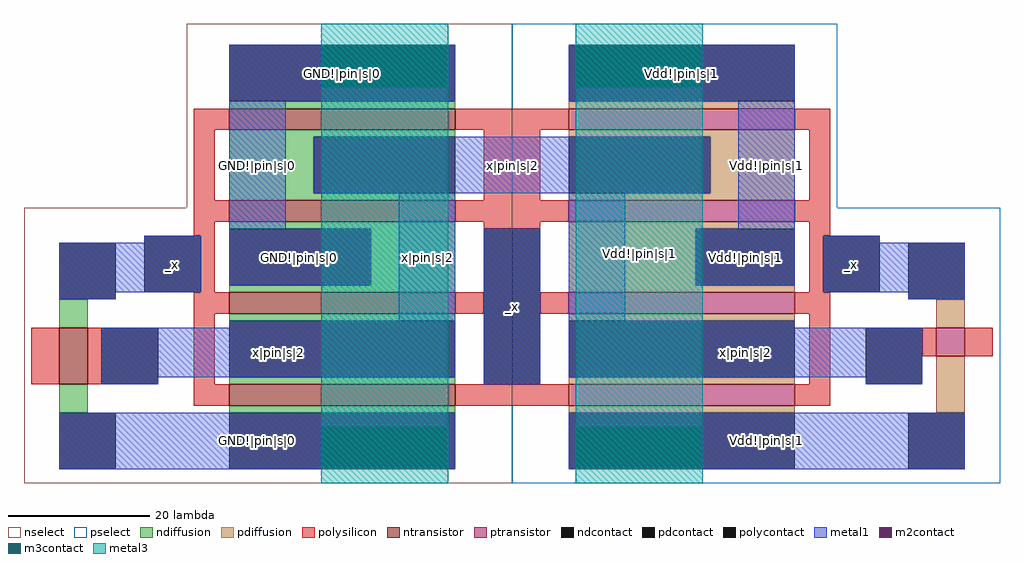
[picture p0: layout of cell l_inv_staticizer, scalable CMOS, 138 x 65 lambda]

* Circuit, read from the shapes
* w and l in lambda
.subckt l_inv_staticizer GND!|pin|s|0 Vdd!|pin|s|1 _x x|pin|s|2
M1 _x x|pin|s|2 GND!|pin|s|0 VSUBS nfet w=4 l=8
M2 x|pin|s|2 _x GND!|pin|s|0 VSUBS nfet w=32 l=3 m=4
M3 x|pin|s|2 _x Vdd!|pin|s|1 NWELL pfet w=32 l=3 m=4
M4 _x x|pin|s|2 Vdd!|pin|s|1 NWELL pfet w=4 l=4
.ends

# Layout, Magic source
magic
tech scmos
<< nselect >>
rect -46 99 0 125
rect -69 60 0 99
<< pselect >>
rect 0 99 46 125
rect 0 60 69 99
<< ndiffusion >>
rect -40 113 -8 114
rect -40 109 -8 110
rect -40 101 -28 109
rect -40 100 -8 101
rect -40 96 -8 97
rect -20 88 -8 96
rect -40 87 -8 88
rect -64 82 -60 86
rect -40 83 -8 84
rect -40 74 -8 75
rect -64 70 -60 74
rect -40 70 -8 71
<< pdiffusion >>
rect 8 113 40 114
rect 8 109 40 110
rect 28 101 40 109
rect 8 100 40 101
rect 8 96 40 97
rect 8 88 26 96
rect 8 87 40 88
rect 8 83 40 84
rect 8 74 40 75
rect 60 82 64 86
rect 8 70 40 71
rect 60 70 64 78
<< ntransistor >>
rect -40 110 -8 113
rect -40 97 -8 100
rect -40 84 -8 87
rect -64 74 -60 82
rect -40 71 -8 74
<< ptransistor >>
rect 8 110 40 113
rect 8 97 40 100
rect 8 84 40 87
rect 60 78 64 82
rect 8 71 40 74
<< polysilicon >>
rect -45 110 -40 113
rect -8 110 8 113
rect 40 110 45 113
rect -45 100 -42 110
rect -4 100 4 110
rect 42 100 45 110
rect -45 97 -40 100
rect -8 97 8 100
rect 40 97 45 100
rect -45 95 -42 97
rect -44 87 -42 95
rect -4 96 4 97
rect -45 84 -40 87
rect -8 84 -4 87
rect -68 74 -64 82
rect -60 74 -58 82
rect -45 74 -42 84
rect 42 95 45 97
rect 42 87 44 95
rect 4 84 8 87
rect 40 84 45 87
rect 42 74 45 84
rect 58 78 60 82
rect 64 78 68 82
rect -45 71 -40 74
rect -8 71 8 74
rect 40 71 45 74
<< ndcontact >>
rect -40 114 -8 122
rect -28 101 -8 109
rect -64 86 -56 94
rect -40 88 -20 96
rect -40 75 -8 83
rect -64 62 -56 70
rect -40 62 -8 70
<< pdcontact >>
rect 8 114 40 122
rect 8 101 28 109
rect 26 88 40 96
rect 56 86 64 94
rect 8 75 40 83
rect 8 62 40 70
rect 56 62 64 70
<< polycontact >>
rect -52 87 -44 95
rect -58 74 -50 82
rect -4 74 4 96
rect 44 87 52 95
rect 50 74 58 82
<< metal1 >>
rect -40 116 -27 122
rect -9 116 -8 122
rect -40 114 -8 116
rect 8 116 9 122
rect 27 116 40 122
rect 8 114 40 116
rect -40 96 -32 114
rect -28 101 28 109
rect -52 94 -44 95
rect -64 87 -44 94
rect -40 88 -20 96
rect -64 86 -56 87
rect -16 83 -8 101
rect -40 82 -8 83
rect -58 75 -8 82
rect -58 74 -50 75
rect -4 74 4 96
rect 8 83 16 101
rect 32 96 40 114
rect 26 88 40 96
rect 44 94 52 95
rect 44 87 64 94
rect 56 86 64 87
rect 8 82 40 83
rect 8 75 58 82
rect 50 74 58 75
rect -64 68 -8 70
rect -64 62 -27 68
rect -9 62 -8 68
rect 8 68 64 70
rect 8 62 9 68
rect 27 62 64 68
<< m2contact >>
rect -27 116 -9 122
rect 9 116 27 122
rect -27 62 -9 68
rect 9 62 27 68
<< m3contact >>
rect -27 116 -9 122
rect 9 116 27 122
rect -27 62 -9 68
rect 9 62 27 68
<< metal3 >>
rect -27 60 -9 125
rect 9 60 27 125
<< labels >>
rlabel metal1 -4 74 4 96 1 _x
rlabel metal1 -48 91 -48 91 1 _x
rlabel metal1 48 91 48 91 1 _x
rlabel space -69 60 -28 125 7 ^n
rlabel space 28 60 69 125 3 ^p
rlabel metal1 -64 62 -8 70 1 GND!|pin|s|0
rlabel metal1 -40 88 -32 122 1 GND!|pin|s|0
rlabel metal1 -40 114 -8 122 1 GND!|pin|s|0
rlabel metal1 -40 88 -20 96 1 GND!|pin|s|0
rlabel metal1 8 62 64 70 1 Vdd!|pin|s|1
rlabel metal1 8 114 40 122 1 Vdd!|pin|s|1
rlabel metal1 26 88 40 96 1 Vdd!|pin|s|1
rlabel metal1 32 88 40 122 1 Vdd!|pin|s|1
rlabel metal3 9 60 27 125 1 Vdd!|pin|s|1
rlabel metal1 -58 75 -8 82 1 x|pin|s|2
rlabel metal1 -28 101 28 109 1 x|pin|s|2
rlabel metal1 8 75 58 82 1 x|pin|s|2
rlabel metal1 8 75 16 109 1 x|pin|s|2
rlabel metal1 -16 75 -8 109 1 x|pin|s|2
rlabel metal3 -27 60 -9 125 1 GND!|pin|s|0
<< end >>
